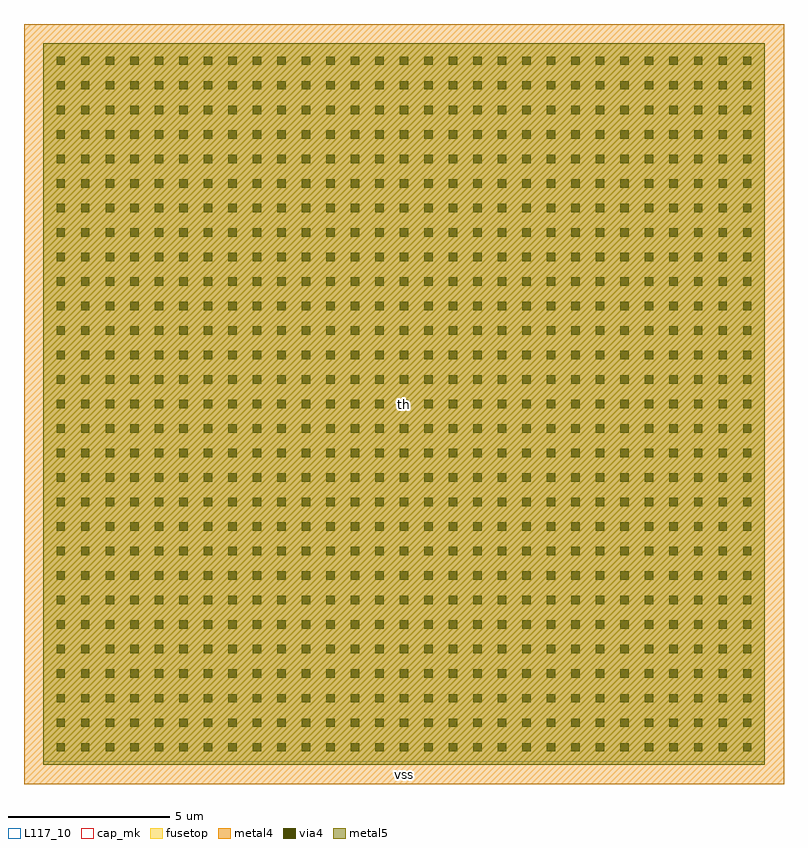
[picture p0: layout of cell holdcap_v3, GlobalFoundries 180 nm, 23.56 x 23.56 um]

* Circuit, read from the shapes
.subckt holdcap_v3 th vss
XC1 th vss cap_mim_2f0fF c_width=22.36u c_length=22.36u
.ends

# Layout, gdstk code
import gdstk
lib = gdstk.Library(unit=1e-6, precision=1e-09)
def R(c, l, rs):  # rectangles x0, y0, x1, y1
    for r in rs: c.add(gdstk.rectangle(r[:2], r[2:], *l))
def A(c, l, x, y, w, h, nx, ny, dx, dy):  # array of equal rectangles
    R(c, l, [(x+i*dx, y+j*dy, x+i*dx+w, y+j*dy+h) for i in range(nx) for j in range(ny)])
via4 = (41, 0)
metal4 = (46, 0)
fusetop = (75, 0)
metal5 = (81, 0)
cap_mk = (117, 5)
L117_10 = (117, 10)

holdcap_v3 = lib.new_cell('holdcap_v3')
A(holdcap_v3, via4, 0.41, 0.41, 0.26, 0.26, 29, 29, 0.76, 0.76)
R(holdcap_v3, metal4, [(-0.6,-0.6,22.96,22.96)])
R(holdcap_v3, fusetop, [(0,0,22.36,22.36)])
R(holdcap_v3, metal5, [(0,0,22.36,22.36)])
R(holdcap_v3, cap_mk, [(-0.6,-0.6,22.96,22.96)])
R(holdcap_v3, L117_10, [(0,0,22.36,0.1)])
holdcap_v3.add(gdstk.Label('th', (11.18,11.18), layer=81, texttype=10))
holdcap_v3.add(gdstk.Label('vss', (11.18,-0.3), layer=46, texttype=10))

lib.write_gds('holdcap_v3.gds')
